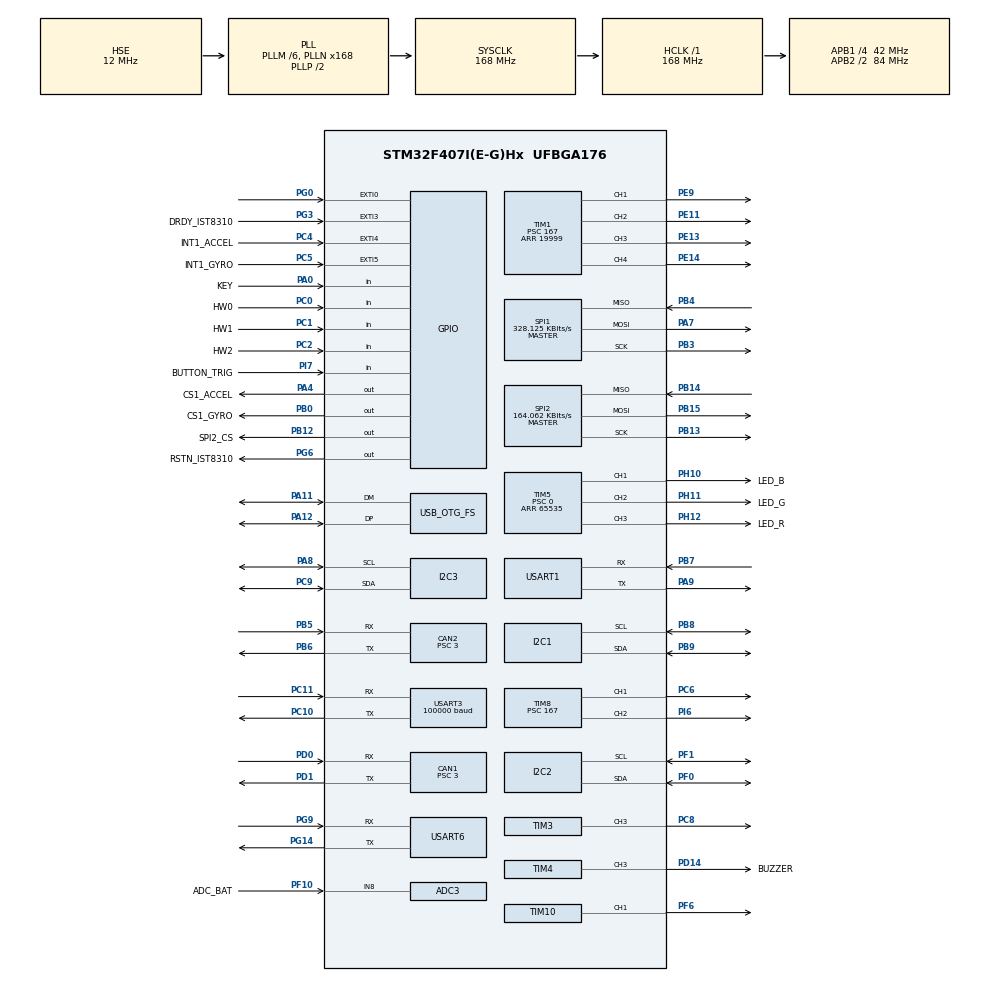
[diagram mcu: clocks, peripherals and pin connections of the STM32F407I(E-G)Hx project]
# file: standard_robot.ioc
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ADC1.Channel-0\#ChannelRegularConversion=ADC_CHANNEL_TEMPSENSOR
ADC1.ClockPrescaler=ADC_CLOCK_SYNC_PCLK_DIV6
ADC1.NbrOfConversionFlag=1
ADC1.Rank-0\#ChannelRegularConversion=1
ADC1.SamplingTime-0\#ChannelRegularConversion=ADC_SAMPLETIME_3CYCLES
ADC1.master=1
ADC3.Channel-0\#ChannelRegularConversion=ADC_CHANNEL_8
ADC3.ClockPrescaler=ADC_CLOCK_SYNC_PCLK_DIV6
ADC3.NbrOfConversionFlag=1
ADC3.Rank-0\#ChannelRegularConversion=1
ADC3.SamplingTime-0\#ChannelRegularConversion=ADC_SAMPLETIME_3CYCLES
CAN1.BS1=CAN_BS1_10TQ
CAN1.BS2=CAN_BS2_3TQ
CAN1.CalculateTimeQuantum=71.42857142857143
CAN1.Prescaler=3
CAN2.BS1=CAN_BS1_10TQ
CAN2.BS2=CAN_BS2_3TQ
CAN2.CalculateTimeQuantum=71.42857142857143
CAN2.Prescaler=3
Dma.I2C2_TX.2.Direction=DMA_MEMORY_TO_PERIPH
Dma.I2C2_TX.2.FIFOMode=DMA_FIFOMODE_DISABLE
Dma.I2C2_TX.2.Instance=DMA1_Stream7
Dma.I2C2_TX.2.MemDataAlignment=DMA_MDATAALIGN_BYTE
Dma.I2C2_TX.2.MemInc=DMA_MINC_ENABLE
Dma.I2C2_TX.2.Mode=DMA_NORMAL
Dma.I2C2_TX.2.PeriphDataAlignment=DMA_PDATAALIGN_BYTE
Dma.I2C2_TX.2.PeriphInc=DMA_PINC_DISABLE
Dma.I2C2_TX.2.Priority=DMA_PRIORITY_HIGH
Dma.Request0=SPI1_RX
Dma.Request1=SPI1_TX
Dma.Request2=I2C2_TX
Dma.Request3=USART3_RX
Dma.Request4=USART6_RX
Dma.Request5=USART6_TX
Dma.Request6=USART1_TX
Dma.SPI1_RX.0.Direction=DMA_PERIPH_TO_MEMORY
Dma.SPI1_RX.0.FIFOMode=DMA_FIFOMODE_DISABLE
Dma.SPI1_RX.0.Instance=DMA2_Stream2
Dma.SPI1_RX.0.MemDataAlignment=DMA_MDATAALIGN_BYTE
Dma.SPI1_RX.0.MemInc=DMA_MINC_ENABLE
Dma.SPI1_RX.0.Mode=DMA_NORMAL
Dma.SPI1_RX.0.PeriphDataAlignment=DMA_PDATAALIGN_BYTE
Dma.SPI1_RX.0.PeriphInc=DMA_PINC_DISABLE
Dma.SPI1_RX.0.Priority=DMA_PRIORITY_VERY_HIGH
Dma.SPI1_TX.1.Direction=DMA_MEMORY_TO_PERIPH
Dma.SPI1_TX.1.FIFOMode=DMA_FIFOMODE_DISABLE
Dma.SPI1_TX.1.Instance=DMA2_Stream3
Dma.SPI1_TX.1.MemDataAlignment=DMA_MDATAALIGN_BYTE
Dma.SPI1_TX.1.MemInc=DMA_MINC_ENABLE
Dma.SPI1_TX.1.Mode=DMA_NORMAL
Dma.SPI1_TX.1.PeriphDataAlignment=DMA_PDATAALIGN_BYTE
Dma.SPI1_TX.1.PeriphInc=DMA_PINC_DISABLE
Dma.SPI1_TX.1.Priority=DMA_PRIORITY_HIGH
Dma.USART1_TX.6.Direction=DMA_MEMORY_TO_PERIPH
Dma.USART1_TX.6.FIFOMode=DMA_FIFOMODE_DISABLE
Dma.USART1_TX.6.Instance=DMA2_Stream7
Dma.USART1_TX.6.MemDataAlignment=DMA_MDATAALIGN_BYTE
Dma.USART1_TX.6.MemInc=DMA_MINC_ENABLE
Dma.USART1_TX.6.Mode=DMA_NORMAL
Dma.USART1_TX.6.PeriphDataAlignment=DMA_PDATAALIGN_BYTE
Dma.USART1_TX.6.PeriphInc=DMA_PINC_DISABLE
Dma.USART1_TX.6.Priority=DMA_PRIORITY_MEDIUM
Dma.USART3_RX.3.Direction=DMA_PERIPH_TO_MEMORY
Dma.USART3_RX.3.FIFOMode=DMA_FIFOMODE_DISABLE
Dma.USART3_RX.3.Instance=DMA1_Stream1
Dma.USART3_RX.3.MemDataAlignment=DMA_MDATAALIGN_BYTE
Dma.USART3_RX.3.MemInc=DMA_MINC_ENABLE
Dma.USART3_RX.3.Mode=DMA_NORMAL
Dma.USART3_RX.3.PeriphDataAlignment=DMA_PDATAALIGN_BYTE
Dma.USART3_RX.3.PeriphInc=DMA_PINC_DISABLE
Dma.USART3_RX.3.Priority=DMA_PRIORITY_HIGH
Dma.USART6_RX.4.Direction=DMA_PERIPH_TO_MEMORY
Dma.USART6_RX.4.FIFOMode=DMA_FIFOMODE_DISABLE
Dma.USART6_RX.4.Instance=DMA2_Stream1
Dma.USART6_RX.4.MemDataAlignment=DMA_MDATAALIGN_BYTE
Dma.USART6_RX.4.MemInc=DMA_MINC_ENABLE
Dma.USART6_RX.4.Mode=DMA_NORMAL
Dma.USART6_RX.4.PeriphDataAlignment=DMA_PDATAALIGN_BYTE
Dma.USART6_RX.4.PeriphInc=DMA_PINC_DISABLE
Dma.USART6_RX.4.Priority=DMA_PRIORITY_HIGH
Dma.USART6_TX.5.Direction=DMA_MEMORY_TO_PERIPH
Dma.USART6_TX.5.FIFOMode=DMA_FIFOMODE_DISABLE
Dma.USART6_TX.5.Instance=DMA2_Stream6
Dma.USART6_TX.5.MemDataAlignment=DMA_MDATAALIGN_BYTE
Dma.USART6_TX.5.MemInc=DMA_MINC_ENABLE
Dma.USART6_TX.5.Mode=DMA_NORMAL
Dma.USART6_TX.5.PeriphDataAlignment=DMA_PDATAALIGN_BYTE
Dma.USART6_TX.5.PeriphInc=DMA_PINC_DISABLE
Dma.USART6_TX.5.Priority=DMA_PRIORITY_MEDIUM
FREERTOS.INCLUDE_eTaskGetState=1
FREERTOS.INCLUDE_pcTaskGetTaskName=1
FREERTOS.INCLUDE_uxTaskGetStackHighWaterMark=1
FREERTOS.INCLUDE_vTaskCleanUpResources=1
FREERTOS.INCLUDE_vTaskDelayUntil=1
FREERTOS.INCLUDE_xEventGroupSetBitFromISR=1
FREERTOS.INCLUDE_xQueueGetMutexHolder=1
FREERTOS.INCLUDE_xSemaphoreGetMutexHolder=1
FREERTOS.INCLUDE_xTaskAbortDelay=1
FREERTOS.INCLUDE_xTaskGetCurrentTaskHandle=1
FREERTOS.INCLUDE_xTaskGetHandle=1
FREERTOS.INCLUDE_xTimerPendFunctionCall=1
FREERTOS.Tasks01=test,24,128,test_task,As weak,NULL,Dynamic,NULL,NULL
FREERTOS.configTOTAL_HEAP_SIZE=24576
I2C1.I2C_Mode=I2C_Fast
I2C2.I2C_Mode=I2C_Fast
I2C3.I2C_Mode=I2C_Fast
Mcu.Family=STM32F4
Mcu.Name=STM32F407I(E-G)Hx
Mcu.Package=UFBGA176
NVIC.CAN1_RX0_IRQn=true\:6\:0\:true\:false\:true\:true\:true\:true
NVIC.CAN2_RX0_IRQn=true\:6\:0\:true\:false\:true\:true\:true\:true
NVIC.DMA1_Stream1_IRQn=true\:5\:0\:true\:false\:false\:true\:false\:false
NVIC.DMA1_Stream7_IRQn=true\:5\:0\:true\:false\:false\:true\:false\:true
NVIC.DMA2_Stream1_IRQn=true\:5\:0\:true\:false\:true\:true\:false\:true
NVIC.DMA2_Stream2_IRQn=true\:5\:0\:true\:false\:false\:true\:false\:true
NVIC.DMA2_Stream3_IRQn=true\:5\:0\:true\:false\:false\:true\:false\:true
NVIC.DMA2_Stream6_IRQn=true\:5\:0\:true\:false\:true\:true\:false\:true
NVIC.DMA2_Stream7_IRQn=true\:5\:0\:true\:false\:true\:true\:false\:true
NVIC.EXTI0_IRQn=true\:6\:0\:true\:false\:true\:true\:true\:true
NVIC.EXTI3_IRQn=true\:5\:0\:true\:false\:true\:true\:true\:true
NVIC.EXTI4_IRQn=true\:5\:0\:true\:false\:true\:true\:true\:true
NVIC.EXTI9_5_IRQn=true\:5\:0\:true\:false\:true\:true\:true\:true
NVIC.OTG_FS_IRQn=true\:5\:0\:false\:false\:true\:true\:false\:true
NVIC.PriorityGroup=NVIC_PRIORITYGROUP_4
NVIC.USART1_IRQn=true\:5\:0\:false\:false\:true\:true\:true\:true
NVIC.USART3_IRQn=true\:4\:0\:true\:false\:false\:false\:true\:true
NVIC.USART6_IRQn=true\:5\:0\:true\:false\:false\:true\:true\:true
PA0-WKUP.GPIO_Label=KEY
PA0-WKUP.GPIO_PuPd=GPIO_PULLUP
PA0-WKUP.Signal=GPIO_Input
PA11.Mode=Device_Only
PA11.Signal=USB_OTG_FS_DM
PA12.Mode=Device_Only
PA12.Signal=USB_OTG_FS_DP
PA13.Mode=Serial_Wire
PA13.Signal=SYS_JTMS-SWDIO
PA14.Mode=Serial_Wire
PA14.Signal=SYS_JTCK-SWCLK
PA4.GPIO_Label=CS1_ACCEL
PA4.GPIO_PuPd=GPIO_PULLUP
PA4.GPIO_Speed=GPIO_SPEED_FREQ_HIGH
PA4.PinState=GPIO_PIN_SET
PA4.Signal=GPIO_Output
PA7.GPIO_PuPd=GPIO_PULLUP
PA7.Mode=Full_Duplex_Master
PA7.Signal=SPI1_MOSI
PA8.Mode=I2C
PA8.Signal=I2C3_SCL
PA9.Mode=Asynchronous
PA9.Signal=USART1_TX
PB0.GPIO_Label=CS1_GYRO
PB0.GPIO_PuPd=GPIO_PULLUP
PB0.GPIO_Speed=GPIO_SPEED_FREQ_HIGH
PB0.PinState=GPIO_PIN_SET
PB0.Signal=GPIO_Output
PB12.GPIO_Label=SPI2_CS
PB12.GPIO_PuPd=GPIO_PULLUP
PB12.GPIO_Speed=GPIO_SPEED_FREQ_MEDIUM
PB12.PinState=GPIO_PIN_SET
PB12.Signal=GPIO_Output
PB13.GPIO_PuPd=GPIO_PULLUP
PB13.Mode=Full_Duplex_Master
PB13.Signal=SPI2_SCK
PB14.GPIO_PuPd=GPIO_PULLUP
PB14.Mode=Full_Duplex_Master
PB14.Signal=SPI2_MISO
PB15.GPIO_PuPd=GPIO_PULLUP
PB15.Mode=Full_Duplex_Master
PB15.Signal=SPI2_MOSI
PB3.GPIO_PuPd=GPIO_PULLUP
PB3.Mode=Full_Duplex_Master
PB3.Signal=SPI1_SCK
PB4.GPIO_PuPd=GPIO_PULLUP
PB4.Mode=Full_Duplex_Master
PB4.Signal=SPI1_MISO
PB5.Mode=Slave
PB5.Signal=CAN2_RX
PB6.Mode=Slave
PB6.Signal=CAN2_TX
PB7.Mode=Asynchronous
PB7.Signal=USART1_RX
PB8.Mode=I2C
PB8.Signal=I2C1_SCL
PB9.Mode=I2C
PB9.Signal=I2C1_SDA
PC0.GPIO_Label=HW0
PC0.Signal=GPIO_Input
PC1.GPIO_Label=HW1
PC1.Signal=GPIO_Input
PC10.Mode=Asynchronous
PC10.Signal=USART3_TX
PC11.Mode=Asynchronous
PC11.Signal=USART3_RX
PC2.GPIO_Label=HW2
PC2.Signal=GPIO_Input
PC4.GPIO_Label=INT1_ACCEL
PC4.GPIO_ModeDefaultEXTI=GPIO_MODE_IT_FALLING
PC4.GPIO_PuPd=GPIO_PULLUP
PC4.Signal=GPXTI4
PC5.GPIO_Label=INT1_GYRO
PC5.GPIO_ModeDefaultEXTI=GPIO_MODE_IT_FALLING
PC5.GPIO_PuPd=GPIO_PULLUP
PC5.Signal=GPXTI5
PC6.GPIO_PuPd=GPIO_PULLUP
PC6.GPIO_Speed=GPIO_SPEED_FREQ_HIGH
PC6.Signal=S_TIM8_CH1
PC8.GPIO_PuPd=GPIO_PULLUP
PC8.GPIO_Speed=GPIO_SPEED_FREQ_HIGH
PC8.Signal=S_TIM3_CH3
PC9.Mode=I2C
PC9.Signal=I2C3_SDA
PD0.Mode=Master
PD0.Signal=CAN1_RX
PD1.Mode=Master
PD1.Signal=CAN1_TX
PD14.GPIO_Label=BUZZER
PD14.GPIO_PuPd=GPIO_PULLUP
PD14.GPIO_Speed=GPIO_SPEED_FREQ_VERY_HIGH
PD14.Signal=S_TIM4_CH3
PE11.GPIO_PuPd=GPIO_PULLUP
PE11.GPIO_Speed=GPIO_SPEED_FREQ_HIGH
PE11.Signal=S_TIM1_CH2
PE13.GPIO_PuPd=GPIO_PULLUP
PE13.GPIO_Speed=GPIO_SPEED_FREQ_HIGH
PE13.Signal=S_TIM1_CH3
PE14.GPIO_PuPd=GPIO_PULLUP
PE14.GPIO_Speed=GPIO_SPEED_FREQ_HIGH
PE14.Signal=S_TIM1_CH4
PE9.GPIO_PuPd=GPIO_PULLUP
PE9.GPIO_Speed=GPIO_SPEED_FREQ_HIGH
PE9.Signal=S_TIM1_CH1
PF0.Mode=I2C
PF0.Signal=I2C2_SDA
PF1.Mode=I2C
PF1.Signal=I2C2_SCL
PF10.GPIO_Label=ADC_BAT
PF10.Mode=IN8
PF10.Signal=ADC3_IN8
PF6.GPIO_PuPd=GPIO_PULLUP
PF6.GPIO_Speed=GPIO_SPEED_FREQ_HIGH
PF6.Signal=S_TIM10_CH1
PG0.GPIO_ModeDefaultEXTI=GPIO_MODE_IT_FALLING
PG0.GPIO_PuPd=GPIO_PULLUP
PG0.Signal=GPXTI0
PG14.Mode=Asynchronous
PG14.Signal=USART6_TX
PG3.GPIO_Label=DRDY_IST8310
PG3.GPIO_ModeDefaultEXTI=GPIO_MODE_IT_FALLING
PG3.GPIO_PuPd=GPIO_PULLUP
PG3.Signal=GPXTI3
PG6.GPIO_Label=RSTN_IST8310
PG6.GPIO_PuPd=GPIO_PULLUP
PG6.GPIO_Speed=GPIO_SPEED_FREQ_MEDIUM
PG6.PinState=GPIO_PIN_SET
PG6.Signal=GPIO_Output
PG9.Mode=Asynchronous
PG9.Signal=USART6_RX
PH0-OSC_IN.Mode=HSE-External-Oscillator
PH0-OSC_IN.Signal=RCC_OSC_IN
PH1-OSC_OUT.Mode=HSE-External-Oscillator
PH1-OSC_OUT.Signal=RCC_OSC_OUT
PH10.GPIO_Label=LED_B
PH10.GPIO_PuPd=GPIO_PULLUP
PH10.GPIO_Speed=GPIO_SPEED_FREQ_HIGH
PH10.Signal=S_TIM5_CH1
PH11.GPIO_Label=LED_G
PH11.GPIO_PuPd=GPIO_PULLUP
PH11.GPIO_Speed=GPIO_SPEED_FREQ_HIGH
PH11.Signal=S_TIM5_CH2
PH12.GPIO_Label=LED_R
PH12.GPIO_PuPd=GPIO_PULLUP
PH12.GPIO_Speed=GPIO_SPEED_FREQ_HIGH
PH12.Signal=S_TIM5_CH3
PI6.GPIO_PuPd=GPIO_PULLUP
PI6.GPIO_Speed=GPIO_SPEED_FREQ_HIGH
PI6.Signal=S_TIM8_CH2
PI7.GPIO_Label=BUTTON_TRIG
PI7.GPIO_PuPd=GPIO_PULLUP
PI7.Signal=GPIO_Input
ProjectManager.HeapSize=0x2000
ProjectManager.StackSize=0x2000
ProjectManager.TargetToolchain=MDK-ARM V5
RCC.48MHZClocksFreq_Value=48000000
RCC.AHBFreq_Value=168000000
RCC.APB1CLKDivider=RCC_HCLK_DIV4
RCC.APB1Freq_Value=42000000
RCC.APB1TimFreq_Value=84000000
RCC.APB2CLKDivider=RCC_HCLK_DIV2
RCC.APB2Freq_Value=84000000
RCC.APB2TimFreq_Value=168000000
RCC.CortexFreq_Value=168000000
RCC.HCLKFreq_Value=168000000
RCC.HSE_VALUE=12000000
RCC.HSI_VALUE=16000000
RCC.LSE_VALUE=32768
RCC.PLLM=6
RCC.PLLN=168
RCC.PLLQ=7
RCC.RCC_RTC_Clock_SourceVirtual=RCC_RTCCLKSOURCE_HSE_DIV30
RCC.RCC_RTC_Clock_Source_FROM_HSE=RCC_RTCCLKSOURCE_HSE_DIV30
RCC.SYSCLKFreq_VALUE=168000000
RCC.SYSCLKSource=RCC_SYSCLKSOURCE_PLLCLK
RCC.VCOOutputFreq_Value=336000000
RTC.AsynchPrediv=124
RTC.SynchPrediv=3199
SH.S_TIM10_CH1.0=TIM10_CH1,PWM Generation1 CH1
SH.S_TIM1_CH1.0=TIM1_CH1,PWM Generation1 CH1
SH.S_TIM1_CH2.0=TIM1_CH2,PWM Generation2 CH2
SH.S_TIM1_CH3.0=TIM1_CH3,PWM Generation3 CH3
SH.S_TIM1_CH4.0=TIM1_CH4,PWM Generation4 CH4
SH.S_TIM3_CH3.0=TIM3_CH3,PWM Generation3 CH3
SH.S_TIM4_CH3.0=TIM4_CH3,PWM Generation3 CH3
SH.S_TIM5_CH1.0=TIM5_CH1,PWM Generation1 CH1
SH.S_TIM5_CH2.0=TIM5_CH2,PWM Generation2 CH2
SH.S_TIM5_CH3.0=TIM5_CH3,PWM Generation3 CH3
SH.S_TIM8_CH1.0=TIM8_CH1,PWM Generation1 CH1
SH.S_TIM8_CH2.0=TIM8_CH2,PWM Generation2 CH2
SPI1.BaudRatePrescaler=SPI_BAUDRATEPRESCALER_256
SPI1.CLKPhase=SPI_PHASE_2EDGE
SPI1.CLKPolarity=SPI_POLARITY_HIGH
SPI1.CalculateBaudRate=328.125 KBits/s
SPI1.Direction=SPI_DIRECTION_2LINES
SPI1.Mode=SPI_MODE_MASTER
SPI1.VirtualType=VM_MASTER
SPI2.BaudRatePrescaler=SPI_BAUDRATEPRESCALER_256
SPI2.CLKPhase=SPI_PHASE_2EDGE
SPI2.CLKPolarity=SPI_POLARITY_HIGH
SPI2.CalculateBaudRate=164.062 KBits/s
SPI2.Direction=SPI_DIRECTION_2LINES
SPI2.Mode=SPI_MODE_MASTER
SPI2.VirtualType=VM_MASTER
TIM1.Channel-PWM\ Generation1\ CH1=TIM_CHANNEL_1
TIM1.Channel-PWM\ Generation2\ CH2=TIM_CHANNEL_2
TIM1.Channel-PWM\ Generation3\ CH3=TIM_CHANNEL_3
TIM1.Channel-PWM\ Generation4\ CH4=TIM_CHANNEL_4
TIM1.Period=19999
TIM1.Prescaler=167
TIM1.Pulse-PWM\ Generation1\ CH1=1000
TIM1.Pulse-PWM\ Generation2\ CH2=1000
TIM1.Pulse-PWM\ Generation3\ CH3=1000
TIM1.Pulse-PWM\ Generation4\ CH4=1000
TIM10.Channel=TIM_CHANNEL_1
TIM10.Period=4999
TIM3.Channel-PWM\ Generation3\ CH3=TIM_CHANNEL_3
TIM3.Period=8399
TIM4.Channel-PWM\ Generation3\ CH3=TIM_CHANNEL_3
TIM4.Period=65535
TIM4.Prescaler=167
TIM5.Channel-PWM\ Generation1\ CH1=TIM_CHANNEL_1
TIM5.Channel-PWM\ Generation2\ CH2=TIM_CHANNEL_2
TIM5.Channel-PWM\ Generation3\ CH3=TIM_CHANNEL_3
TIM5.Period=65535
TIM5.Prescaler=0
TIM8.Channel-PWM\ Generation1\ CH1=TIM_CHANNEL_1
TIM8.Channel-PWM\ Generation2\ CH2=TIM_CHANNEL_2
TIM8.Period=19999
TIM8.Prescaler=167
TIM8.Pulse-PWM\ Generation1\ CH1=1000
TIM8.Pulse-PWM\ Generation2\ CH2=1000
USART1.VirtualMode=VM_ASYNC
USART3.BaudRate=100000
USART3.Parity=PARITY_EVEN
USART3.VirtualMode=VM_ASYNC
USART6.VirtualMode=VM_ASYNC
USB_DEVICE.CLASS_NAME_FS=CDC
USB_DEVICE.VirtualMode-CDC_FS=Cdc
USB_DEVICE.VirtualModeFS=Cdc_FS
USB_OTG_FS.VirtualMode=Device_Only
VP_ADC1_TempSens_Input.Mode=IN-TempSens
VP_ADC1_Vref_Input.Mode=IN-Vrefint
VP_CRC_VS_CRC.Mode=CRC_Activate
VP_FREERTOS_VS_CMSIS_V1.Mode=CMSIS_V1
VP_RNG_VS_RNG.Mode=RNG_Activate
VP_RTC_VS_RTC_Activate.Mode=RTC_Enabled
VP_TIM10_VS_ClockSourceINT.Mode=Enable_Timer
VP_TIM1_VS_ClockSourceINT.Mode=Internal
VP_TIM3_VS_ClockSourceINT.Mode=Internal
VP_TIM4_VS_ClockSourceINT.Mode=Internal
VP_TIM5_VS_ClockSourceINT.Mode=Internal
VP_TIM8_VS_ClockSourceINT.Mode=Internal
VP_USB_DEVICE_VS_USB_DEVICE_CDC_FS.Mode=CDC_FS
board=custom

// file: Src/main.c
/* USER CODE BEGIN Header */
/**
 ******************************************************************************
 * @file           : main.c
 * @brief          : Main program body
 ******************************************************************************
 * @attention
 *
 * <h2><center>&copy; Copyright (c) 2019 STMicroelectronics.
 * All rights reserved.</center></h2>
 *
 * This software component is licensed by ST under Ultimate Liberty license
 * SLA0044, the "License"; You may not use this file except in compliance with
 * the License. You may obtain a copy of the License at:
 *                             www.st.com/SLA0044
 *
 ******************************************************************************
 */
/* USER CODE END Header */

#include "main.h"
#include "cmsis_os.h"
#include "adc.h"
#include "can.h"
#include "crc.h"
#include "dma.h"
#include "i2c.h"
#include "rng.h"
#include "rtc.h"
#include "spi.h"
#include "tim.h"
#include "usart.h"
#include "usb_device.h"
#include "gpio.h"

/* USER CODE BEGIN Includes */
#include "bsp_can.h"
#include "bsp_delay.h"
#include "bsp_usart.h"
#include "remote_control.h"

#include "calibrate_task.h"
#include "chassis_task.h"
#include "detect_task.h"
#include "gimbal_task.h"
#include "INS_task.h"
#include "led_flow_task.h"
#include "oled_task.h"
#include "referee_usart_task.h"
#include "referee.h"
#include "ui_interface.h"
#include "usb_task.h"
#include "voltage_task.h"
/* USER CODE END Includes */

/* USER CODE BEGIN PTD */
float X_set, Y_set, W_set, X_real, Y_real, W_real;
/* USER CODE END PTD */

void SystemClock_Config(void);
void MX_FREERTOS_Init(void);
extern uint16_t get_CRC16_check_sum(uint8_t *pchMessage, uint32_t dwLength, uint16_t wCRC); // 生成CRC16校验位
extern uint32_t verify_CRC16_check_sum(uint8_t *pchMessage, uint32_t dwLength);             // 检验CRC16校验位
extern ext_game_robot_state_t robot_state; // 机器人数据

#define RX_BUFFER_SIZE 14 * 10
InputData inputdata;

SEND_DATA Send_Data;
bool_t rec_flag = 0;

extern chassis_move_t chassis_move;       // 底盘控制结构体
extern gimbal_control_t gimbal_control_1; // 云台控制结构体
extern __IO uint32_t uwTick;              // 系统时钟（持续递增）

uint8_t buffer[sizeof(RECEIVE_DATA)]; // 用于存储完整的数据包
uint8_t Usart_Receive[sizeof(RECEIVE_DATA)];             // 用于接收单个字节的数据
uint16_t received = 0;                // 当前接收到的数据长度
uint8_t Count = 0;                    // 接收状态标签
uint32_t sendTick = 0;                // 发送时钟（用于检验发送周期）
uint8_t enemy_color = 0;

void robot_id_to_enemy_color(uint8_t robot_id, uint8_t *enemy_color)
{
	switch(robot_id)
	{
		case UI_Data_RobotID_RHero:
		case UI_Data_RobotID_REngineer:
		case UI_Data_RobotID_RStandard1:
		case UI_Data_RobotID_RStandard2:
		case UI_Data_RobotID_RStandard3:
		case UI_Data_RobotID_RAerial:
		case UI_Data_RobotID_RSentry:
		case UI_Data_RobotID_RRadar:
			*enemy_color = 0;
			break;
		case UI_Data_RobotID_BHero:
		case UI_Data_RobotID_BEngineer:
		case UI_Data_RobotID_BStandard1:
		case UI_Data_RobotID_BStandard2:
		case UI_Data_RobotID_BStandard3:
		case UI_Data_RobotID_BAerial:
		case UI_Data_RobotID_BSentry:
		case UI_Data_RobotID_BRadar:
			*enemy_color = 1;
			break;
		default:
			break;
	}
}

void rx_frame_handler()
{
  uint8_t received_byte = Usart_Receive[0]; // 读取接收到的字节
  // 读取该字节，检查是否为帧头的sof
  if (Count == 0)
  {
    if (received_byte == FRAME_HEADER_SOF)
    {
      buffer[received++] = received_byte; // 存储帧头起始标志
      Count = 1;                          // 进入帧头接受阶段
    }
    else
    {
      received = 0; // 不是帧头标志则丢弃数据
    }
  }
  else if (Count == 1) // 接收帧头的CRC8字段
  {
    buffer[received++] = received_byte;

    // 检查帧头接收是否完成
    if (received == sizeof(FrameHeader))
    {
      FrameHeader *header = (FrameHeader *)buffer;

      // 检查sof和CRC8是否符合固定值
      if (header->sof == FRAME_HEADER_SOF && header->crc8 == 0x00)
      {
        Count = 2; // 帧头校验通过，准备接受数据部分
      }
      else
      {
        received = 0; // 帧头不匹配，丢弃数据重置接收
        Count = 0;
      }
    }
  }
  else if (Count == 2) // 接收数据部分以及帧尾
  {
    buffer[received++] = received_byte;

    // 检查数据包是否接收完整
    if (received == sizeof(FrameHeader) + sizeof(InputData) + sizeof(FrameTailer))
    {
      FrameTailer *tail = (FrameTailer *)(buffer + sizeof(FrameHeader) + sizeof(InputData));

      // 检查帧尾
      if (verify_CRC16_check_sum((uint8_t *)buffer, sizeof(RECEIVE_DATA)))
      {

        // 数据包检验成功，解析数据部分
        memcpy(&inputdata, buffer + sizeof(FrameHeader), sizeof(InputData));
        // memset(buffer, 0, sizeof(RECEIVE_DATA));
      }

      // 无论是否校验成功，一次信息接收已结束，重置接受状态
      received = 0;
      Count = 0;
    }
  }
  // 重新开启帧接收
}

void HAL_UART_RxCpltCallback(UART_HandleTypeDef *huart)
{
	 if (huart->Instance == USART1)
	 {
		 if(Usart_Receive[0]==FRAME_HEADER_SOF&&Usart_Receive[1]== 0x00)
		 {
			   memcpy(&inputdata, Usart_Receive + sizeof(FrameHeader), sizeof(InputData));
		 }

		  HAL_UART_Receive_IT(&huart1, (uint8_t *)Usart_Receive, sizeof(RECEIVE_DATA));
	 }

 }

void HAL_UART_ErrorCallback(UART_HandleTypeDef *huart) {
    if (huart->Instance == USART1) {

        if (__HAL_UART_GET_FLAG(huart, UART_FLAG_FE | UART_FLAG_NE | UART_FLAG_ORE)) {
            __HAL_UART_CLEAR_FLAG(huart, UART_FLAG_FE | UART_FLAG_NE | UART_FLAG_ORE);
        }
        huart->RxState = HAL_UART_STATE_READY;
        HAL_UART_Receive_IT(huart, (uint8_t *)Usart_Receive,  sizeof(RECEIVE_DATA));
				//HAL_UART_Receive_IT(huart, (uint8_t *)Usart_Receive, 14);
    }
}

void data_transition(void)
{
  Send_Data.frame_header.sof = FRAME_HEADER_SOF; //Frame_header
	Send_Data.frame_header.crc8= FRAME_HEADER_CRC8;
	//Send_Data.frame_tailer.crc16 = FRAME_TAILER_CRC16; //Frame_tail

  Send_Data.output_data.curr_yaw = gimbal_control_1.gimbal_yaw_motor.absolute_angle;
  Send_Data.output_data.curr_pitch = gimbal_control_1.gimbal_pitch_motor.absolute_angle;
  Send_Data.output_data.curr_omega = gimbal_control_1.gimbal_yaw_motor.motor_gyro;//0.0000015f;//-0.000006f;
  Send_Data.output_data.state = 0;
  Send_Data.output_data.autoaim = 4;
//	robot_id_to_enemy_color(robot_state.robot_id, &enemy_color);
  Send_Data.output_data.enemy_color = 1;

	uint8_t *data_ptr = (uint8_t *)&Send_Data;//½«Send_Data×÷Îª×Ö½ÚÊý×é
	uint32_t data_length = sizeof(SEND_DATA)-sizeof(Send_Data.frame_tailer.crc16); // ¼ÆËãCRCµÄ³¤¶È£¬ÅÅ³ýcrc16×Ö¶Î
	Send_Data.frame_tailer.crc16 = get_CRC16_check_sum(data_ptr,data_length,FRAME_TAILER_CRC16_init);
	 //uint8_t *data_ptr = (uint8_t *)&Send_Data.output_data;
   //uint32_t data_length = sizeof(Send_Data.output_data);
   //Send_Data.frame_tailer.crc16 = get_CRC16_check_sum(data_ptr, data_length, FRAME_TAILER_CRC16_init);
}

void USART1_SEND(void)
{
  // 如果发送间隔小于30ms，则不发送，目的是使信息发送周期固定为30ms
  if (uwTick - sendTick < 15)
    return;
  // 达到30ms，则将发送时间同步为当前时间，并开始发消息
  sendTick = uwTick;
  uint8_t *data_ptr = (uint8_t *)&Send_Data;
  uint16_t data_length = sizeof(SEND_DATA);
  uint8_t newline = '\n';

  // 使用 HAL_UART_Transmit_IT 使用非阻塞模式发送整个数据包
  HAL_UART_Transmit_IT(&huart1, data_ptr, data_length);
  while (__HAL_UART_GET_FLAG(&huart1, UART_FLAG_TC) == RESET)
    ;
  HAL_UART_Transmit_IT(&huart1, &newline, 1);
  // HAL_Delay(100);
}

int main(void)
{

  /* MCU Configuration--------------------------------------------------------*/

  /* Reset of all peripherals, Initializes the Flash interface and the Systick. */
  HAL_Init();

  /* Configure the system clock */
  SystemClock_Config();

  /* Initialize all configured peripherals */
  MX_GPIO_Init();
  MX_DMA_Init();
  MX_ADC1_Init();
  MX_ADC3_Init();
  MX_CAN1_Init();
  MX_CAN2_Init();
  MX_I2C1_Init();
  MX_SPI1_Init();
  MX_TIM4_Init();
  MX_TIM5_Init();
  MX_USART3_UART_Init();
  MX_TIM8_Init();
  MX_CRC_Init();
  MX_RNG_Init();
  MX_I2C2_Init();
  MX_I2C3_Init();
  MX_RTC_Init();
  MX_SPI2_Init();
  MX_TIM1_Init();
  MX_TIM3_Init();
  MX_TIM10_Init();
  MX_USART1_UART_Init();
  MX_USART6_UART_Init();
  /* USER CODE BEGIN 2 */
  can_filter_init();
  delay_init();
  cali_param_init();
  remote_control_init();
  // usart1_tx_dma_init(); // 如果出现问题，删去该句试试
//  HAL_UART_Receive_IT(&huart1, (uint8_t *)Usart_Receive, 1);
HAL_UART_Receive_IT(&huart1,(uint8_t*)Usart_Receive,sizeof(RECEIVE_DATA));
  /* USER CODE END 2 */

  /* Call init function for freertos objects (in freertos.c) */
  MX_FREERTOS_Init();

  /* Start scheduler */
  osKernelStart();

  /* We should never get here as control is now taken by the scheduler */

  /* Infinite loop */
  while (1)
  {

    /* USER CODE BEGIN 3 */
    //		chassis_move.vx_set=vx_set;
    //		chassis_move.vy_set=vy_set;
    //		chassis_move.wz_set=wz_set;
  }
  /* USER CODE END 3 */
}

void SystemClock_Config(void)
{
  RCC_OscInitTypeDef RCC_OscInitStruct = {0};
  RCC_ClkInitTypeDef RCC_ClkInitStruct = {0};
  RCC_PeriphCLKInitTypeDef PeriphClkInitStruct = {0};

  /** Configure the main internal regulator output voltage
   */
  __HAL_RCC_PWR_CLK_ENABLE();
  __HAL_PWR_VOLTAGESCALING_CONFIG(PWR_REGULATOR_VOLTAGE_SCALE1);
  /** Initializes the CPU, AHB and APB busses clocks
   */
  RCC_OscInitStruct.OscillatorType = RCC_OSCILLATORTYPE_HSE;
  RCC_OscInitStruct.HSEState = RCC_HSE_ON;
  RCC_OscInitStruct.PLL.PLLState = RCC_PLL_ON;
  RCC_OscInitStruct.PLL.PLLSource = RCC_PLLSOURCE_HSE;
  RCC_OscInitStruct.PLL.PLLM = 6;
  RCC_OscInitStruct.PLL.PLLN = 168;
  RCC_OscInitStruct.PLL.PLLP = RCC_PLLP_DIV2;
  RCC_OscInitStruct.PLL.PLLQ = 7;
  if (HAL_RCC_OscConfig(&RCC_OscInitStruct) != HAL_OK)
  {
    Error_Handler();
  }
  /** Initializes the CPU, AHB and APB busses clocks
   */
  RCC_ClkInitStruct.ClockType = RCC_CLOCKTYPE_HCLK | RCC_CLOCKTYPE_SYSCLK | RCC_CLOCKTYPE_PCLK1 | RCC_CLOCKTYPE_PCLK2;
  RCC_ClkInitStruct.SYSCLKSource = RCC_SYSCLKSOURCE_PLLCLK;
  RCC_ClkInitStruct.AHBCLKDivider = RCC_SYSCLK_DIV1;
  RCC_ClkInitStruct.APB1CLKDivider = RCC_HCLK_DIV4;
  RCC_ClkInitStruct.APB2CLKDivider = RCC_HCLK_DIV2;

  if (HAL_RCC_ClockConfig(&RCC_ClkInitStruct, FLASH_LATENCY_5) != HAL_OK)
  {
    Error_Handler();
  }
  PeriphClkInitStruct.PeriphClockSelection = RCC_PERIPHCLK_RTC;
  PeriphClkInitStruct.RTCClockSelection = RCC_RTCCLKSOURCE_HSE_DIV30;
  if (HAL_RCCEx_PeriphCLKConfig(&PeriphClkInitStruct) != HAL_OK)
  {
    Error_Handler();
  }
}

void Error_Handler(void)
{
}

/************************ (C) COPYRIGHT STMicroelectronics *****END OF FILE****/

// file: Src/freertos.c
/* USER CODE BEGIN Header */
/**
  ******************************************************************************
  * File Name          : freertos.c
  * Description        : Code for freertos applications
  ******************************************************************************
  * @attention
  *
  * <h2><center>&copy; Copyright (c) 2019 STMicroelectronics.
  * All rights reserved.</center></h2>
  *
  * This software component is licensed by ST under Ultimate Liberty license
  * SLA0044, the "License"; You may not use this file except in compliance with
  * the License. You may obtain a copy of the License at:
  *                             www.st.com/SLA0044
  *
  ******************************************************************************
  */
/* USER CODE END Header */

#include "FreeRTOS.h"
#include "task.h"
#include "main.h"
#include "cmsis_os.h"

/* USER CODE BEGIN Includes */

#include "calibrate_task.h"
#include "chassis_task.h"
#include "detect_task.h"
#include "gimbal_task.h"
#include "INS_task.h"
#include "led_flow_task.h"
#include "oled_task.h"
#include "referee_usart_task.h"
#include "usb_task.h"
#include "voltage_task.h"
#include "servo_task.h"
/* USER CODE END Includes */

/* USER CODE BEGIN PTD */

osThreadId calibrate_tast_handle;
osThreadId chassisTaskHandle;
osThreadId detect_handle;
osThreadId gimbalTaskHandle;
osThreadId imuTaskHandle;
osThreadId led_RGB_flow_handle;
osThreadId oled_handle;
osThreadId referee_usart_task_handle;
osThreadId usb_task_handle;
osThreadId battery_voltage_handle;
osThreadId servo_task_handle;

/* USER CODE END PTD */

osThreadId testHandle;

void test_task(void const * argument);

extern void MX_USB_DEVICE_Init(void);
void MX_FREERTOS_Init(void); /* (MISRA C 2004 rule 8.1) */

/* GetIdleTaskMemory prototype (linked to static allocation support) */
void vApplicationGetIdleTaskMemory( StaticTask_t **ppxIdleTaskTCBBuffer, StackType_t **ppxIdleTaskStackBuffer, uint32_t *pulIdleTaskStackSize );

/* GetTimerTaskMemory prototype (linked to static allocation support) */
void vApplicationGetTimerTaskMemory( StaticTask_t **ppxTimerTaskTCBBuffer, StackType_t **ppxTimerTaskStackBuffer, uint32_t *pulTimerTaskStackSize );

/* USER CODE BEGIN GET_IDLE_TASK_MEMORY */
static StaticTask_t xIdleTaskTCBBuffer;
static StackType_t xIdleStack[configMINIMAL_STACK_SIZE];

void vApplicationGetIdleTaskMemory( StaticTask_t **ppxIdleTaskTCBBuffer, StackType_t **ppxIdleTaskStackBuffer, uint32_t *pulIdleTaskStackSize )
{
  *ppxIdleTaskTCBBuffer = &xIdleTaskTCBBuffer;
  *ppxIdleTaskStackBuffer = &xIdleStack[0];
  *pulIdleTaskStackSize = configMINIMAL_STACK_SIZE;
  /* place for user code */
}
/* USER CODE END GET_IDLE_TASK_MEMORY */

/* USER CODE BEGIN GET_TIMER_TASK_MEMORY */
static StaticTask_t xTimerTaskTCBBuffer;
static StackType_t xTimerStack[configTIMER_TASK_STACK_DEPTH];

void vApplicationGetTimerTaskMemory( StaticTask_t **ppxTimerTaskTCBBuffer, StackType_t **ppxTimerTaskStackBuffer, uint32_t *pulTimerTaskStackSize )
{
  *ppxTimerTaskTCBBuffer = &xTimerTaskTCBBuffer;
  *ppxTimerTaskStackBuffer = &xTimerStack[0];
  *pulTimerTaskStackSize = configTIMER_TASK_STACK_DEPTH;
  /* place for user code */
}
/* USER CODE END GET_TIMER_TASK_MEMORY */

void MX_FREERTOS_Init(void) {

  /* Create the thread(s) */
  /* definition and creation of test */
  osThreadDef(test, test_task, osPriorityNormal, 0, 128);
  testHandle = osThreadCreate(osThread(test), NULL);

  /* USER CODE BEGIN RTOS_THREADS */
  /* add threads, ... */
    osThreadDef(cali, calibrate_task, osPriorityNormal, 0, 512);
    calibrate_tast_handle = osThreadCreate(osThread(cali), NULL);

    osThreadDef(ChassisTask, chassis_task, osPriorityAboveNormal, 0, 512);
    chassisTaskHandle = osThreadCreate(osThread(ChassisTask), NULL);

    osThreadDef(DETECT, detect_task, osPriorityNormal, 0, 256);
    detect_handle = osThreadCreate(osThread(DETECT), NULL);

    osThreadDef(gimbalTask, gimbal_task, osPriorityHigh, 0, 512);
    gimbalTaskHandle = osThreadCreate(osThread(gimbalTask), NULL);

    osThreadDef(imuTask, INS_task, osPriorityRealtime, 0, 1024);
    imuTaskHandle = osThreadCreate(osThread(imuTask), NULL);

    osThreadDef(led, led_RGB_flow_task, osPriorityNormal, 0, 256);
    led_RGB_flow_handle = osThreadCreate(osThread(led), NULL);

    osThreadDef(OLED, oled_task, osPriorityLow, 0, 256);
    oled_handle = osThreadCreate(osThread(OLED), NULL);

    osThreadDef(REFEREE, referee_usart_task, osPriorityNormal, 0, 128);
    referee_usart_task_handle = osThreadCreate(osThread(REFEREE), NULL);

    osThreadDef(USBTask, usb_task, osPriorityNormal, 0, 128);
    usb_task_handle = osThreadCreate(osThread(USBTask), NULL);

    osThreadDef(BATTERY_VOLTAGE, battery_voltage_task, osPriorityNormal, 0, 128);
    battery_voltage_handle = osThreadCreate(osThread(BATTERY_VOLTAGE), NULL);

    osThreadDef(SERVO, servo_task, osPriorityNormal, 0, 128);
    servo_task_handle = osThreadCreate(osThread(SERVO), NULL);

  /* USER CODE END RTOS_THREADS */

}

__weak void test_task(void const * argument)
{
  /* init code for USB_DEVICE */
  MX_USB_DEVICE_Init();

  for(;;)
  {
    osDelay(1);
  }
}

/************************ (C) COPYRIGHT STMicroelectronics *****END OF FILE****/
